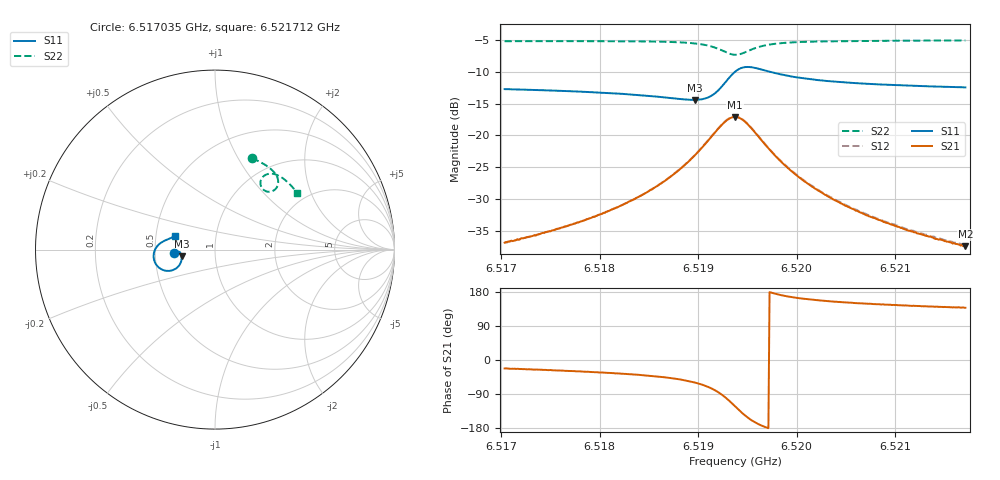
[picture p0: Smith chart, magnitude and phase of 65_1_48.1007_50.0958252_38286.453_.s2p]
#  HZ  S  RI  R  50.00
! Rohde & Schwarz Vector Network Analyzer
! Rohde-Schwarz,ZNB20-2Port,1311601062101988,3.16
! Created: UTC 12/23/2023, 3:41:10 AM
! freq[Hz]  re:S11  im:S11  re:S21  im:S21  re:S12  im:S12  re:S22  im:S22
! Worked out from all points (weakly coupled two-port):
!   401 points, 6.517035 GHz to 6.521712 GHz, reference 50 ohm
!   highest |S21| = -17.11 dB at 6.519373 GHz (marker M1); lowest = -37.4 dB at 6.521712 GHz (marker M2)
!   lowest |S11| = -14.4 dB at 6.518964 GHz (marker M3), VSWR 1.47, Z = 34.2 - j2.6 ohm
!   |S11| at or under -10 dB: start of sweep to 6.519375 GHz; 6.519725 GHz to end of sweep
!   |S22| runs from -7.3 to -5.1 dB; largest |S21 - S12| = 0.0042
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6.5170348e9  -0.2303 -0.0166  0.0133 -0.00546  0.0134 -0.00502  0.2064 0.5084
6.5173739e9  -0.2266 -0.0116  0.0151 -0.00722  0.0152 -0.00675  0.2312 0.4978
6.5178182e9  -0.2201 -0.00637  0.0182 -0.0108  0.0186 -0.0102  0.2642 0.481
6.5182157e9  -0.2122 -0.00456  0.0227 -0.0166  0.0233 -0.0158  0.2941 0.4624
6.5186015e9  -0.2006 -0.00945  0.0295 -0.0284  0.0303 -0.0276  0.324 0.4372
6.5187886e9  -0.1931 -0.0183  0.0335 -0.0401  0.0349 -0.0394  0.3385 0.4188
6.518964e9  -0.1865 -0.0367  0.0355 -0.0598  0.0376 -0.0591  0.35 0.3939
6.5190692e9  -0.1865 -0.0565  0.0322 -0.079  0.0349 -0.0786  0.3522 0.3727
6.5191511e9  -0.1936 -0.0783  0.0224 -0.0989  0.0256 -0.0989  0.347 0.3522
6.5192797e9  -0.2371 -0.1149  -0.0219 -0.1277  -0.0184 -0.1294  0.3134 0.3236
6.5193265e9  -0.2653 -0.1186  -0.0477 -0.1283  -0.0445 -0.1305  0.2927 0.3229
6.5193732e9  -0.2953 -0.1111  -0.074 -0.1182  -0.0713 -0.1213  0.2728 0.3313
6.51942e9  -0.3207 -0.0922  -0.0946 -0.099  -0.0923 -0.1025  0.2586 0.3478
6.5194785e9  -0.3385 -0.0602  -0.1068 -0.0694  -0.1057 -0.0729  0.253 0.3724
6.519572e9  -0.339 -0.0141  -0.1021 -0.0296  -0.1022 -0.0327  0.265 0.4032
6.5196772e9  -0.3229 0.0178  -0.0849 -0.00492  -0.0854 -0.00732  0.2881 0.4192
6.5198877e9  -0.2926 0.0437  -0.0564 0.0111  -0.0573 0.0096  0.3264 0.4216
6.5201566e9  -0.2694 0.0545  -0.0369 0.0142  -0.038 0.0133  0.3584 0.4098
6.5204957e9  -0.2531 0.0611  -0.0247 0.0131  -0.0256 0.0126  0.3872 0.3905
6.52094e9  -0.24 0.0677  -0.0168 0.0114  -0.0173 0.0111  0.4163 0.3644
6.5214194e9  -0.2301 0.0742  -0.0119 0.00981  -0.0124 0.00961  0.4425 0.3352
6.5217117e9  -0.2251 0.0782  -0.01 0.00908  -0.0105 0.00897  0.4569 0.317
